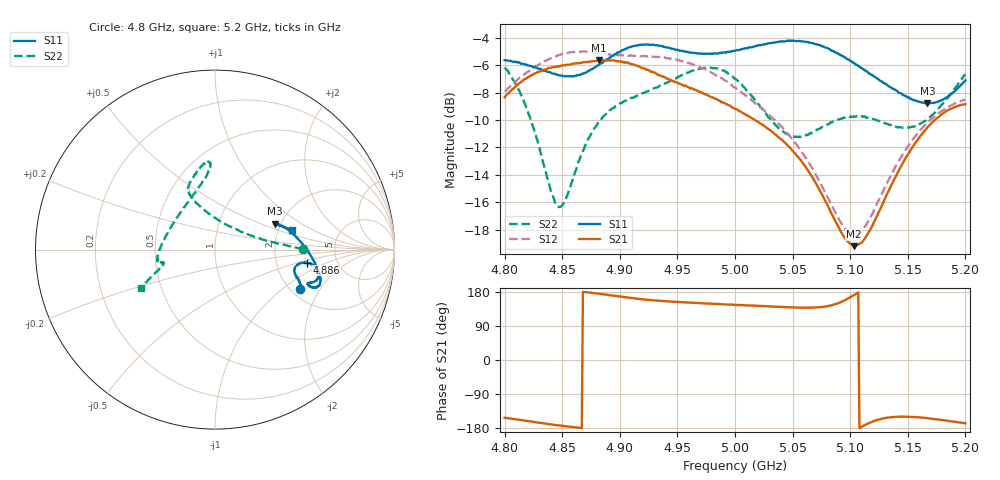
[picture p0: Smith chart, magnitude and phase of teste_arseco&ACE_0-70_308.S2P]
! Network Analyzer HP8722D
! Hewlett-Packard
! Data name: Linha & Wilkinson
! Saver's name: Rodrigo Anjos
! Comments: Teste da utilização de aquisição
! continua pelo VNA HP8722D
! Time and date: 8/5/2025 15:19
!  Frequency  S11  S21  S12  S22
# HZ  S  MA R 50
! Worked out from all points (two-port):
!   401 points, 4.8 GHz to 5.2 GHz, reference 50 ohm
!   highest |S21| = -5.64 dB at 4.882 GHz (marker M1); lowest = -19.2 dB at 5.103 GHz (marker M2)
!   |S21| within 3 dB of the highest: start of sweep to 4.987 GHz
!   lowest |S11| = -8.8 dB at 5.167 GHz (marker M3), VSWR 2.14, Z = 93.4 + j31.1 ohm
!   |S11| at or under -10 dB: nowhere
!   |S22| runs from -16.3 to -6.2 dB; largest |S21 - S12| = 1.1
!   S11 on the Smith chart (normalised r, x): 4.8 GHz: 2.24, -1.35; 4.886 GHz: 3.01, -0.59; 5.2 GHz: 2.36, +0.66
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4.8e9  0.5222 -24.8  0.3823 -152.4  0.4019 7.0  0.4916 0.5
4.818e9  0.5037 -20.9  0.4467 -160.0  0.4671 4.3  0.3586 5.3
4.84e9  0.4711 -17.4  0.49 -169.8  0.5306 0.9  0.1749 34.6
4.846e9  0.4623 -16.1  0.4943 -172.1  0.5447 -0.2  0.1542 55.6
4.853e9  0.4565 -14.5  0.5006 -174.8  0.5539 -1.4  0.1628 80.9
4.867e9  0.4653 -10.6  0.5117 -179.7  0.5612 -3.5  0.2377 106.8
4.882e9  0.5037 -8.0  0.5227 174.9  0.5551 -4.4  0.312 113.6
4.886e9  0.5168 -8.1  0.522 173.5  0.552 -4.5  0.3275 114.5
4.909e9  0.5823 -11.4  0.5065 164.0  0.5438 -3.8  0.3789 113.5
4.934e9  0.5894 -16.8  0.4602 156.2  0.5364 -4.4  0.4189 107.0
4.975e9  0.5509 -20.0  0.3926 149.2  0.4832 -7.9  0.4909 95.0
5e9  0.5652 -21.0  0.3472 145.3  0.4154 -7.6  0.4466 94.0
5.043e9  0.6103 -19.0  0.2619 139.7  0.2909 0.5  0.2847 131.2
5.067e9  0.6028 -14.2  0.1965 138.2  0.2116 8.4  0.285 165.1
5.093e9  0.5423 -4.7  0.1217 154.2  0.1314 33.7  0.3203 -173.8
5.103e9  0.5113 0.0  0.1097 170.8  0.1204 52.7  0.3256 -170.4
5.114e9  0.4771 5.6  0.1193 -169.6  0.1314 74.0  0.3219 -168.0
5.134e9  0.4188 15.5  0.177 -151.5  0.1935 94.1  0.3033 -166.7
5.151e9  0.3824 21.9  0.2403 -149.7  0.2568 98.5  0.2969 -164.8
5.167e9  0.3638 23.4  0.2966 -153.6  0.3096 99.1  0.3191 -161.6
5.182e9  0.3787 21.0  0.3377 -159.3  0.3464 99.1  0.3684 -157.9
5.2e9  0.4412 14.7  0.361 -167.0  0.376 99.6  0.4648 -152.4
